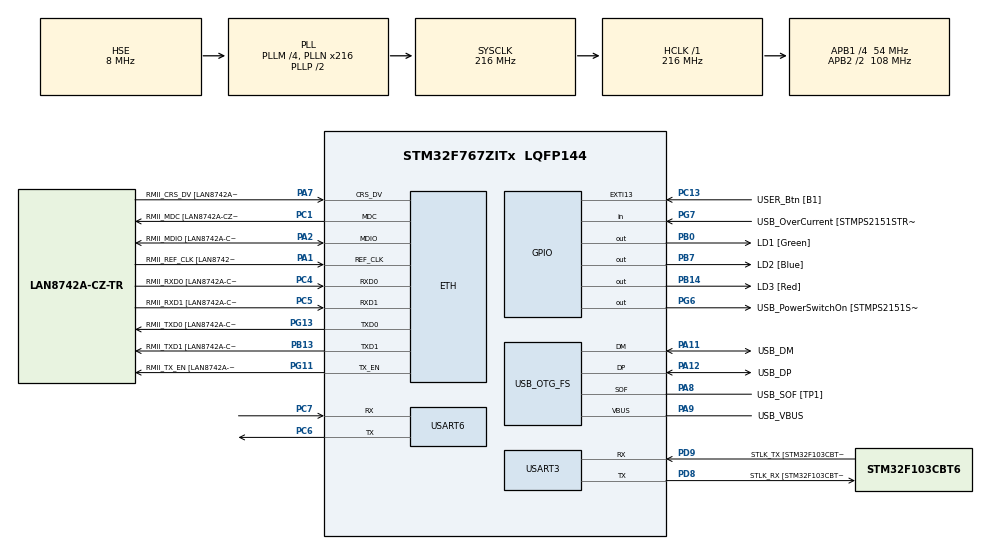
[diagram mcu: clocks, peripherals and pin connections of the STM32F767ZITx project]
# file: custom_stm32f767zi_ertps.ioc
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CORTEX_M7.CPU_DCache=Enabled
Dma.Request0=USART3_RX
Dma.Request1=USART3_TX
Dma.USART3_RX.0.Direction=DMA_PERIPH_TO_MEMORY
Dma.USART3_RX.0.FIFOMode=DMA_FIFOMODE_DISABLE
Dma.USART3_RX.0.Instance=DMA1_Stream1
Dma.USART3_RX.0.MemDataAlignment=DMA_MDATAALIGN_BYTE
Dma.USART3_RX.0.MemInc=DMA_MINC_ENABLE
Dma.USART3_RX.0.Mode=DMA_CIRCULAR
Dma.USART3_RX.0.PeriphDataAlignment=DMA_PDATAALIGN_BYTE
Dma.USART3_RX.0.PeriphInc=DMA_PINC_DISABLE
Dma.USART3_RX.0.Priority=DMA_PRIORITY_VERY_HIGH
Dma.USART3_TX.1.Direction=DMA_MEMORY_TO_PERIPH
Dma.USART3_TX.1.FIFOMode=DMA_FIFOMODE_DISABLE
Dma.USART3_TX.1.Instance=DMA1_Stream3
Dma.USART3_TX.1.MemDataAlignment=DMA_MDATAALIGN_BYTE
Dma.USART3_TX.1.MemInc=DMA_MINC_ENABLE
Dma.USART3_TX.1.Mode=DMA_NORMAL
Dma.USART3_TX.1.PeriphDataAlignment=DMA_PDATAALIGN_BYTE
Dma.USART3_TX.1.PeriphInc=DMA_PINC_DISABLE
Dma.USART3_TX.1.Priority=DMA_PRIORITY_VERY_HIGH
ETH.MediaInterface=ETH_MEDIA_INTERFACE_RMII
ETH.PHY_Name=LAN8742A_PHY_ADDRESS
ETH.PHY_Value=0
ETH.PhyAddress=0
ETH.RxMode=ETH_RXINTERRUPT_MODE
FREERTOS.Tasks01=initTask,19,8000,initTaskFunction,Default,NULL,Dynamic,NULL,NULL
FREERTOS.configMAX_TASK_NAME_LEN=30
FREERTOS.configTOTAL_HEAP_SIZE=100000
FREERTOS.configUSE_NEWLIB_REENTRANT=1
LWIP.GATEWAY_ADDRESS=192.168.001.001
LWIP.IP_ADDRESS=192.168.001.103
LWIP.LWIP_DHCP=0
LWIP.LWIP_DNS=1
LWIP.LWIP_IGMP=1
LWIP.LWIP_MULTICAST_TX_OPTIONS=1
LWIP.MEMP_NUM_UDP_PCB=15
LWIP.MEM_SIZE=30000
LWIP.NETMASK_ADDRESS=255.255.255.000
LWIP.PBUF_POOL_SIZE=20
LWIP.TCPIP_THREAD_PRIO=20
LWIP.TCPIP_THREAD_STACKSIZE=10000
LWIP.Version=v2.1.2_Cube
Mcu.Family=STM32F7
Mcu.Name=STM32F767ZITx
Mcu.Package=LQFP144
NVIC.DMA1_Stream1_IRQn=true\:5\:0\:false\:false\:true\:true\:false\:true
NVIC.DMA1_Stream3_IRQn=true\:5\:0\:false\:false\:true\:true\:false\:true
NVIC.ETH_IRQn=true\:5\:0\:false\:false\:true\:true\:false\:true
NVIC.PriorityGroup=NVIC_PRIORITYGROUP_4
NVIC.TIM1_UP_TIM10_IRQn=true\:0\:0\:false\:false\:true\:false\:false\:true
NVIC.TimeBase=TIM1_UP_TIM10_IRQn
NVIC.TimeBaseIP=TIM1
NVIC.USART3_IRQn=true\:5\:0\:false\:false\:true\:true\:true\:true
PA1.GPIO_Label=RMII_REF_CLK [LAN8742A-CZ-TR_REFCLK0]
PA1.Mode=RMII
PA1.Signal=ETH_REF_CLK
PA10.GPIO_Label=USB_ID
PA10.Signal=USB_OTG_FS_ID
PA11.GPIO_Label=USB_DM
PA11.Mode=Device_Only
PA11.Signal=USB_OTG_FS_DM
PA12.GPIO_Label=USB_DP
PA12.Mode=Device_Only
PA12.Signal=USB_OTG_FS_DP
PA13.GPIO_Label=TMS
PA13.Mode=Serial_Wire
PA13.Signal=SYS_JTMS-SWDIO
PA14.GPIO_Label=TCK
PA14.Mode=Serial_Wire
PA14.Signal=SYS_JTCK-SWCLK
PA2.GPIO_Label=RMII_MDIO [LAN8742A-CZ-TR_MDIO]
PA2.Mode=RMII
PA2.Signal=ETH_MDIO
PA7.GPIO_Label=RMII_CRS_DV [LAN8742A-CZ-TR_CRS_DV]
PA7.Mode=RMII
PA7.Signal=ETH_CRS_DV
PA8.GPIO_Label=USB_SOF [TP1]
PA8.Mode=Activate_SOF_FS
PA8.Signal=USB_OTG_FS_SOF
PA9.GPIO_Label=USB_VBUS
PA9.Mode=Activate_VBUS
PA9.Signal=USB_OTG_FS_VBUS
PB0.GPIO_Label=LD1 [Green]
PB0.Signal=GPIO_Output
PB13.GPIO_Label=RMII_TXD1 [LAN8742A-CZ-TR_TXD1]
PB13.Mode=RMII
PB13.Signal=ETH_TXD1
PB14.GPIO_Label=LD3 [Red]
PB14.Signal=GPIO_Output
PB3.GPIO_Label=SWO
PB3.Signal=SYS_JTDO-SWO
PB7.GPIO_Label=LD2 [Blue]
PB7.Signal=GPIO_Output
PC1.GPIO_Label=RMII_MDC [LAN8742A-CZ-TR_MDC]
PC1.Mode=RMII
PC1.Signal=ETH_MDC
PC13.GPIO_Label=USER_Btn [B1]
PC13.Signal=GPXTI13
PC14/OSC32_IN.Mode=LSE-External-Oscillator
PC14/OSC32_IN.Signal=RCC_OSC32_IN
PC15/OSC32_OUT.Mode=LSE-External-Oscillator
PC15/OSC32_OUT.Signal=RCC_OSC32_OUT
PC4.GPIO_Label=RMII_RXD0 [LAN8742A-CZ-TR_RXD0]
PC4.Mode=RMII
PC4.Signal=ETH_RXD0
PC5.GPIO_Label=RMII_RXD1 [LAN8742A-CZ-TR_RXD1]
PC5.Mode=RMII
PC5.Signal=ETH_RXD1
PC6.Mode=Asynchronous
PC6.Signal=USART6_TX
PC7.Mode=Asynchronous
PC7.Signal=USART6_RX
PD8.GPIO_Label=STLK_RX [STM32F103CBT6_PA3]
PD8.Mode=Asynchronous
PD8.Signal=USART3_TX
PD9.GPIO_Label=STLK_TX [STM32F103CBT6_PA2]
PD9.Mode=Asynchronous
PD9.Signal=USART3_RX
PG11.GPIO_Label=RMII_TX_EN [LAN8742A-CZ-TR_TXEN]
PG11.Mode=RMII
PG11.Signal=ETH_TX_EN
PG13.GPIO_Label=RMII_TXD0 [LAN8742A-CZ-TR_TXD0]
PG13.Mode=RMII
PG13.Signal=ETH_TXD0
PG6.GPIO_Label=USB_PowerSwitchOn [STMPS2151STR_EN]
PG6.Signal=GPIO_Output
PG7.GPIO_Label=USB_OverCurrent [STMPS2151STR_FAULT]
PG7.Signal=GPIO_Input
PH0/OSC_IN.GPIO_Label=MCO [STM32F103CBT6_PA8]
PH0/OSC_IN.Mode=HSE-External-Oscillator
PH0/OSC_IN.Signal=RCC_OSC_IN
PH1/OSC_OUT.Mode=HSE-External-Oscillator
PH1/OSC_OUT.Signal=RCC_OSC_OUT
ProjectManager.HeapSize=0x200
ProjectManager.StackSize=0x400
ProjectManager.TargetToolchain=Makefile
RCC.48MHZClocksFreq_Value=24000000
RCC.AHBFreq_Value=216000000
RCC.APB1CLKDivider=RCC_HCLK_DIV4
RCC.APB1Freq_Value=54000000
RCC.APB1TimFreq_Value=108000000
RCC.APB2CLKDivider=RCC_HCLK_DIV2
RCC.APB2Freq_Value=108000000
RCC.APB2TimFreq_Value=216000000
RCC.CortexFreq_Value=216000000
RCC.HCLKFreq_Value=216000000
RCC.HSE_VALUE=8000000
RCC.HSI_VALUE=16000000
RCC.PLLM=4
RCC.PLLMUL=RCC_PLL_MUL9
RCC.PLLN=216
RCC.PLLQ=9
RCC.PRESCALERUSB=RCC_USBCLKSOURCE_PLL_DIV1_5
RCC.SYSCLKFreq_VALUE=216000000
RCC.SYSCLKSource=RCC_SYSCLKSOURCE_PLLCLK
RCC.SYSCLKSourceVirtual=RCC_SYSCLKSOURCE_PLLCLK
RCC.USBFreq_Value=48000000
RCC.VCOOutputFreq_Value=432000000
USART3.VirtualMode-Asynchronous=VM_ASYNC
USART6.VirtualMode-Asynchronous=VM_ASYNC
USB_OTG_FS.VirtualMode=Device_Only
VP_FREERTOS_VS_CMSIS_V2.Mode=CMSIS_V2
VP_LWIP_VS_Enabled.Mode=Enabled
VP_SYS_VS_tim1.Mode=TIM1
board=NUCLEO-F767ZI

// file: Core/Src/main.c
/* USER CODE BEGIN Header */
/**
  ******************************************************************************
  * @file           : main.c
  * @brief          : Main program body
  ******************************************************************************
  * @attention
  *
  * <h2><center>&copy; Copyright (c) 2022 STMicroelectronics.
  * All rights reserved.</center></h2>
  *
  * This software component is licensed by ST under Ultimate Liberty license
  * SLA0044, the "License"; You may not use this file except in compliance with
  * the License. You may obtain a copy of the License at:
  *                             www.st.com/SLA0044
  *
  ******************************************************************************
  */
/* USER CODE END Header */
#include "main.h"
#include "cmsis_os.h"
#include "lwip.h"

/* USER CODE BEGIN Includes */
#include "stm32f7xx_hal.h"
#include "api.h"

#include <allocators.h>
#include <rcl/rcl.h>
#include <uxr/client/client.h>
#include <ucdr/microcdr.h>

#include <rmw_microros/rmw_microros.h>

#include <microros_transports.h>

#include <sys/socket.h>
#include <ip_addr.h>

#include "FreeRTOS.h"
#include "task.h"

#include <rmw_microxrcedds_c/config.h>

/* USER CODE END Includes */

UART_HandleTypeDef huart3;
UART_HandleTypeDef huart6;
DMA_HandleTypeDef hdma_usart3_rx;
DMA_HandleTypeDef hdma_usart3_tx;

PCD_HandleTypeDef hpcd_USB_OTG_FS;

/* Definitions for initTask */
osThreadId_t initTaskHandle;
const osThreadAttr_t initTask_attributes = {
  .name = "initTask",
  .priority = (osPriority_t) osPriorityBelowNormal3,
  .stack_size = 8000 * 4
};

void SystemClock_Config(void);
static void MX_GPIO_Init(void);
static void MX_USART3_UART_Init(void);
static void MX_DMA_Init(void);
static void MX_USART6_UART_Init(void);
static void MX_USB_OTG_FS_PCD_Init(void);
void initTaskFunction(void *argument);

/* USER CODE BEGIN PFP */
#define BUFSIZE 4096
char buffer[BUFSIZE];
extern struct netif gnetif;
UART_HandleTypeDef * printf_uart = NULL;
// extern appMain;

/* USER CODE END PFP */

/* USER CODE BEGIN 0 */
int __io_putchar(int ch)
{
  uint8_t c[1];
  c[0] = ch & 0x00FF;
  if (printf_uart != NULL){
     HAL_UART_Transmit(printf_uart, &c[0], 1, 10);
  }
  return ch;
}

int _write(int file,char *ptr, int len)
{
  int DataIdx;
  for(DataIdx= 0; DataIdx< len; DataIdx++){
  __io_putchar(*ptr++);
  }
  return len;
}
/* USER CODE END 0 */

int main(void)
{

  /* Enable D-Cache---------------------------------------------------------*/
  SCB_EnableDCache();

  /* MCU Configuration--------------------------------------------------------*/

  /* Reset of all peripherals, Initializes the Flash interface and the Systick. */
  HAL_Init();

  /* Configure the system clock */
  SystemClock_Config();

  /* Initialize all configured peripherals */
  MX_GPIO_Init();
  MX_DMA_Init();
  MX_USART3_UART_Init();
  MX_USART6_UART_Init();
  MX_USB_OTG_FS_PCD_Init();
  /* USER CODE BEGIN 2 */
#ifdef RMW_UXRCE_TRANSPORT_UDP
  printf_uart = &huart3;
#endif
  /* USER CODE END 2 */

  /* Init scheduler */
  osKernelInitialize();

  /* Create the thread(s) */
  /* creation of initTask */
  initTaskHandle = osThreadNew(initTaskFunction, NULL, &initTask_attributes);

  /* Start scheduler */
  osKernelStart();

  /* We should never get here as control is now taken by the scheduler */
  /* Infinite loop */
  while (1)
  {

  }
}

void SystemClock_Config(void)
{
  RCC_OscInitTypeDef RCC_OscInitStruct = {0};
  RCC_ClkInitTypeDef RCC_ClkInitStruct = {0};
  RCC_PeriphCLKInitTypeDef PeriphClkInitStruct = {0};

  /** Configure LSE Drive Capability
  */
  HAL_PWR_EnableBkUpAccess();
  /** Configure the main internal regulator output voltage
  */
  __HAL_RCC_PWR_CLK_ENABLE();
  __HAL_PWR_VOLTAGESCALING_CONFIG(PWR_REGULATOR_VOLTAGE_SCALE1);
  /** Initializes the RCC Oscillators according to the specified parameters
  * in the RCC_OscInitTypeDef structure.
  */
  RCC_OscInitStruct.OscillatorType = RCC_OSCILLATORTYPE_HSE;
  RCC_OscInitStruct.HSEState = RCC_HSE_ON;
  RCC_OscInitStruct.PLL.PLLState = RCC_PLL_ON;
  RCC_OscInitStruct.PLL.PLLSource = RCC_PLLSOURCE_HSE;
  RCC_OscInitStruct.PLL.PLLM = 4;
  RCC_OscInitStruct.PLL.PLLN = 216;
  RCC_OscInitStruct.PLL.PLLP = RCC_PLLP_DIV2;
  RCC_OscInitStruct.PLL.PLLQ = 9;
  if (HAL_RCC_OscConfig(&RCC_OscInitStruct) != HAL_OK)
  {
    Error_Handler();
  }
  /** Activate the Over-Drive mode
  */
  if (HAL_PWREx_EnableOverDrive() != HAL_OK)
  {
    Error_Handler();
  }
  /** Initializes the CPU, AHB and APB buses clocks
  */
  RCC_ClkInitStruct.ClockType = RCC_CLOCKTYPE_HCLK|RCC_CLOCKTYPE_SYSCLK
                              |RCC_CLOCKTYPE_PCLK1|RCC_CLOCKTYPE_PCLK2;
  RCC_ClkInitStruct.SYSCLKSource = RCC_SYSCLKSOURCE_PLLCLK;
  RCC_ClkInitStruct.AHBCLKDivider = RCC_SYSCLK_DIV1;
  RCC_ClkInitStruct.APB1CLKDivider = RCC_HCLK_DIV4;
  RCC_ClkInitStruct.APB2CLKDivider = RCC_HCLK_DIV2;

  if (HAL_RCC_ClockConfig(&RCC_ClkInitStruct, FLASH_LATENCY_7) != HAL_OK)
  {
    Error_Handler();
  }
  PeriphClkInitStruct.PeriphClockSelection = RCC_PERIPHCLK_USART3|RCC_PERIPHCLK_USART6
                              |RCC_PERIPHCLK_CLK48;
  PeriphClkInitStruct.Usart3ClockSelection = RCC_USART3CLKSOURCE_PCLK1;
  PeriphClkInitStruct.Usart6ClockSelection = RCC_USART6CLKSOURCE_PCLK2;
  PeriphClkInitStruct.Clk48ClockSelection = RCC_CLK48SOURCE_PLL;
  if (HAL_RCCEx_PeriphCLKConfig(&PeriphClkInitStruct) != HAL_OK)
  {
    Error_Handler();
  }
}

static void MX_USART3_UART_Init(void)
{

  huart3.Instance = USART3;
  huart3.Init.BaudRate = 115200;
  huart3.Init.WordLength = UART_WORDLENGTH_8B;
  huart3.Init.StopBits = UART_STOPBITS_1;
  huart3.Init.Parity = UART_PARITY_NONE;
  huart3.Init.Mode = UART_MODE_TX_RX;
  huart3.Init.HwFlowCtl = UART_HWCONTROL_NONE;
  huart3.Init.OverSampling = UART_OVERSAMPLING_16;
  huart3.Init.OneBitSampling = UART_ONE_BIT_SAMPLE_DISABLE;
  huart3.AdvancedInit.AdvFeatureInit = UART_ADVFEATURE_NO_INIT;
  if (HAL_UART_Init(&huart3) != HAL_OK)
  {
    Error_Handler();
  }

}

static void MX_USART6_UART_Init(void)
{

  huart6.Instance = USART6;
  huart6.Init.BaudRate = 115200;
  huart6.Init.WordLength = UART_WORDLENGTH_8B;
  huart6.Init.StopBits = UART_STOPBITS_1;
  huart6.Init.Parity = UART_PARITY_NONE;
  huart6.Init.Mode = UART_MODE_TX_RX;
  huart6.Init.HwFlowCtl = UART_HWCONTROL_NONE;
  huart6.Init.OverSampling = UART_OVERSAMPLING_16;
  huart6.Init.OneBitSampling = UART_ONE_BIT_SAMPLE_DISABLE;
  huart6.AdvancedInit.AdvFeatureInit = UART_ADVFEATURE_NO_INIT;
  if (HAL_UART_Init(&huart6) != HAL_OK)
  {
    Error_Handler();
  }

}

static void MX_USB_OTG_FS_PCD_Init(void)
{

  hpcd_USB_OTG_FS.Instance = USB_OTG_FS;
  hpcd_USB_OTG_FS.Init.dev_endpoints = 6;
  hpcd_USB_OTG_FS.Init.speed = PCD_SPEED_FULL;
  hpcd_USB_OTG_FS.Init.dma_enable = DISABLE;
  hpcd_USB_OTG_FS.Init.phy_itface = PCD_PHY_EMBEDDED;
  hpcd_USB_OTG_FS.Init.Sof_enable = ENABLE;
  hpcd_USB_OTG_FS.Init.low_power_enable = DISABLE;
  hpcd_USB_OTG_FS.Init.lpm_enable = DISABLE;
  hpcd_USB_OTG_FS.Init.vbus_sensing_enable = ENABLE;
  hpcd_USB_OTG_FS.Init.use_dedicated_ep1 = DISABLE;
  if (HAL_PCD_Init(&hpcd_USB_OTG_FS) != HAL_OK)
  {
    Error_Handler();
  }

}

static void MX_DMA_Init(void)
{

  /* DMA controller clock enable */
  __HAL_RCC_DMA1_CLK_ENABLE();

  /* DMA interrupt init */
  /* DMA1_Stream1_IRQn interrupt configuration */
  HAL_NVIC_SetPriority(DMA1_Stream1_IRQn, 5, 0);
  HAL_NVIC_EnableIRQ(DMA1_Stream1_IRQn);
  /* DMA1_Stream3_IRQn interrupt configuration */
  HAL_NVIC_SetPriority(DMA1_Stream3_IRQn, 5, 0);
  HAL_NVIC_EnableIRQ(DMA1_Stream3_IRQn);

}

static void MX_GPIO_Init(void)
{
  GPIO_InitTypeDef GPIO_InitStruct = {0};

  /* GPIO Ports Clock Enable */
  __HAL_RCC_GPIOC_CLK_ENABLE();
  __HAL_RCC_GPIOH_CLK_ENABLE();
  __HAL_RCC_GPIOA_CLK_ENABLE();
  __HAL_RCC_GPIOB_CLK_ENABLE();
  __HAL_RCC_GPIOD_CLK_ENABLE();
  __HAL_RCC_GPIOG_CLK_ENABLE();

  /*Configure GPIO pin Output Level */
  HAL_GPIO_WritePin(GPIOB, LD1_Pin|LD3_Pin|LD2_Pin, GPIO_PIN_RESET);

  /*Configure GPIO pin Output Level */
  HAL_GPIO_WritePin(USB_PowerSwitchOn_GPIO_Port, USB_PowerSwitchOn_Pin, GPIO_PIN_RESET);

  /*Configure GPIO pin : USER_Btn_Pin */
  GPIO_InitStruct.Pin = USER_Btn_Pin;
  GPIO_InitStruct.Mode = GPIO_MODE_IT_RISING;
  GPIO_InitStruct.Pull = GPIO_NOPULL;
  HAL_GPIO_Init(USER_Btn_GPIO_Port, &GPIO_InitStruct);

  /*Configure GPIO pins : LD1_Pin LD3_Pin LD2_Pin */
  GPIO_InitStruct.Pin = LD1_Pin|LD3_Pin|LD2_Pin;
  GPIO_InitStruct.Mode = GPIO_MODE_OUTPUT_PP;
  GPIO_InitStruct.Pull = GPIO_NOPULL;
  GPIO_InitStruct.Speed = GPIO_SPEED_FREQ_LOW;
  HAL_GPIO_Init(GPIOB, &GPIO_InitStruct);

  /*Configure GPIO pin : USB_PowerSwitchOn_Pin */
  GPIO_InitStruct.Pin = USB_PowerSwitchOn_Pin;
  GPIO_InitStruct.Mode = GPIO_MODE_OUTPUT_PP;
  GPIO_InitStruct.Pull = GPIO_NOPULL;
  GPIO_InitStruct.Speed = GPIO_SPEED_FREQ_LOW;
  HAL_GPIO_Init(USB_PowerSwitchOn_GPIO_Port, &GPIO_InitStruct);

  /*Configure GPIO pin : USB_OverCurrent_Pin */
  GPIO_InitStruct.Pin = USB_OverCurrent_Pin;
  GPIO_InitStruct.Mode = GPIO_MODE_INPUT;
  GPIO_InitStruct.Pull = GPIO_NOPULL;
  HAL_GPIO_Init(USB_OverCurrent_GPIO_Port, &GPIO_InitStruct);

}

void initTaskFunction(void *argument)
{
  /* init code for LWIP */
  MX_LWIP_Init();
  /* USER CODE BEGIN 5 */
  HAL_GPIO_WritePin(USB_PowerSwitchOn_GPIO_Port, USB_PowerSwitchOn_Pin, GPIO_PIN_RESET);
  bool availableNetwork = false;

#ifdef RMW_UXRCE_TRANSPORT_CUSTOM
  availableNetwork = true;
  rmw_uros_set_custom_transport(
    true,
    (void *) &huart3,
    freertos_serial_open,
    freertos_serial_close,
    freertos_serial_write,
    freertos_serial_read);
#elif defined(RMW_UXRCE_TRANSPORT_UDP)
  printf("Ethernet Initialization\r\n");

	//Waiting for an IP
  printf("Waiting for IP\r\n");
  int retries = 0;
	while(gnetif.ip_addr.addr == 0 && retries < 10){
    osDelay(500);
    retries++;
  };

  availableNetwork = (gnetif.ip_addr.addr != 0);
  if (availableNetwork){
    printf("IP: %s\r\n",ip4addr_ntoa(&gnetif.ip_addr));
  }else{
    printf("Impossible to retrieve an IP\n");
  }
#endif

  // Launch app thread when IP configured
  rcl_allocator_t freeRTOS_allocator = rcutils_get_zero_initialized_allocator();
  freeRTOS_allocator.allocate = __freertos_allocate;
  freeRTOS_allocator.deallocate = __freertos_deallocate;
  freeRTOS_allocator.reallocate = __freertos_reallocate;
  freeRTOS_allocator.zero_allocate = __freertos_zero_allocate;

  if (!rcutils_set_default_allocator(&freeRTOS_allocator)) {
      printf("Error on default allocators (line %d)\n",__LINE__);
  }

  osThreadAttr_t attributes;
  memset(&attributes, 0x0, sizeof(osThreadAttr_t));
  attributes.name = "microROS_app";
  attributes.stack_size = 4*6000;
  attributes.priority = (osPriority_t) osPriorityNormal1;
  osThreadNew(appMain, NULL, &attributes);

  osDelay(500);
  char ptrTaskList[500];
  vTaskList(ptrTaskList);
  printf("**********************************\r\n");
  printf("Task  State   Prio    Stack    Num\r\n");
  printf("**********************************\r\n");
  printf(ptrTaskList);
  printf("**********************************\r\n");

  TaskHandle_t xHandle;
  xHandle = xTaskGetHandle("microROS_app");

  while (1){
    if (eTaskGetState(xHandle) != eSuspended && availableNetwork){
      HAL_GPIO_WritePin(GPIOC, GPIO_PIN_13, GPIO_PIN_RESET);
      osDelay(100);
      HAL_GPIO_WritePin(GPIOC, GPIO_PIN_13, GPIO_PIN_SET);
      osDelay(100);
      HAL_GPIO_WritePin(GPIOC, GPIO_PIN_13, GPIO_PIN_RESET);
      osDelay(150);
      HAL_GPIO_WritePin(GPIOC, GPIO_PIN_13, GPIO_PIN_SET);
      osDelay(500);
    }else{
      HAL_GPIO_WritePin(GPIOC, GPIO_PIN_13, GPIO_PIN_RESET);
      osDelay(1000);
      HAL_GPIO_WritePin(GPIOC, GPIO_PIN_13, GPIO_PIN_SET);
      osDelay(1000);
    }
  }

  /* USER CODE END 5 */
}

 /**
  * @brief  Period elapsed callback in non blocking mode
  * @note   This function is called  when TIM1 interrupt took place, inside
  * HAL_TIM_IRQHandler(). It makes a direct call to HAL_IncTick() to increment
  * a global variable "uwTick" used as application time base.
  * @param  htim : TIM handle
  * @retval None
  */
void HAL_TIM_PeriodElapsedCallback(TIM_HandleTypeDef *htim)
{
  if (htim->Instance == TIM1) {
    HAL_IncTick();
  }
}

void Error_Handler(void)
{
  __disable_irq();
  while (1)
  {
  }
}

/************************ (C) COPYRIGHT STMicroelectronics *****END OF FILE****/
